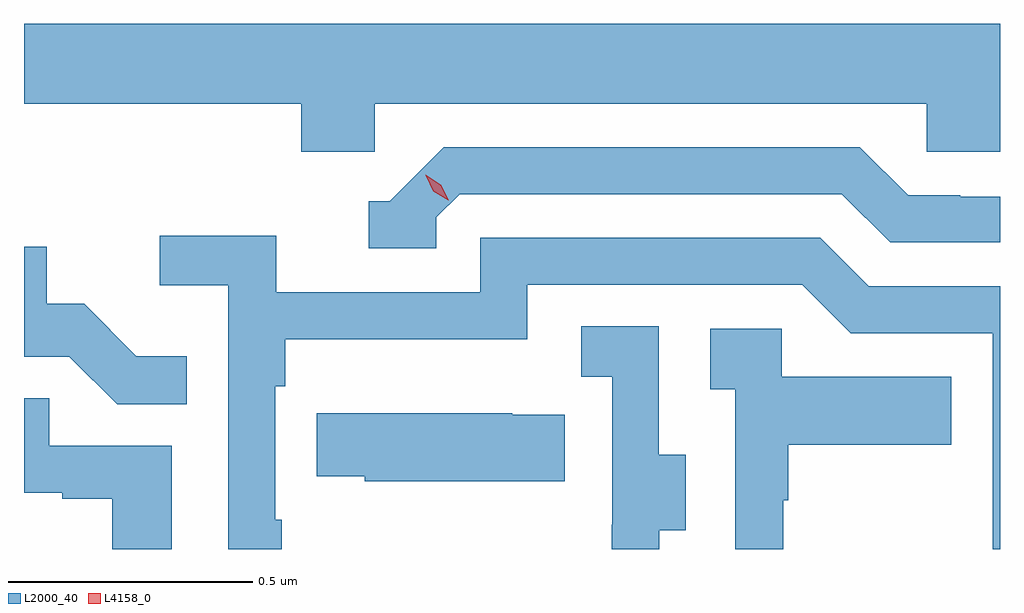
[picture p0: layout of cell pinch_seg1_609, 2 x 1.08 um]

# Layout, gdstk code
import gdstk
lib = gdstk.Library(unit=1e-6, precision=1e-09)
def P(c, l, *ps):  # polygons
    for p in ps: c.add(gdstk.Polygon(p, *l))
L2000_40 = (2000, 40)
L4158_0 = (4158, 0)

pinch_seg1_609 = lib.new_cell('pinch_seg1_609')
P(pinch_seg1_609, L2000_40, [(1041.69,506.444),(1042.821,506.444),(1042.821,506.346),(1042.971,506.346),(1042.971,506.608),(1040.971,506.608),(1040.971,506.444),(1041.539,506.444),(1041.539,506.346),(1041.69,506.346)],
  [(1041.816,506.211),(1041.864,506.259),(1042.647,506.259),(1042.746,506.16),(1042.971,506.16),(1042.971,506.253),(1042.89,506.253),(1042.89,506.256),(1042.783,506.256),(1042.684,506.355),(1041.831,506.355),(1041.72,506.244),(1041.677,506.244),(1041.677,506.148),(1041.816,506.148)],
  [(1041.499,505.592),(1041.486,505.592),(1041.486,505.865),(1041.506,505.865),(1041.506,505.961),(1042.002,505.961),(1042.002,506.073),(1042.566,506.073),(1042.665,505.974),(1042.956,505.974),(1042.956,505.531),(1042.971,505.531),(1042.971,506.07),(1042.702,506.07),(1042.603,506.169),(1041.906,506.169),(1041.906,506.058),(1041.488,506.058),(1041.488,506.174),(1041.249,506.174),(1041.249,506.072),(1041.39,506.072),(1041.39,505.531),(1041.499,505.531)],
  [(1041.305,505.927),(1041.201,505.927),(1041.094,506.034),(1041.018,506.034),(1041.018,506.151),(1040.971,506.151),(1040.971,505.926),(1041.064,505.926),(1041.162,505.828),(1041.305,505.828)],
  [(1042.273,505.57),(1042.327,505.57),(1042.327,505.725),(1042.272,505.725),(1042.272,505.988),(1042.113,505.988),(1042.113,505.885),(1042.176,505.885),(1042.176,505.581),(1042.175,505.581),(1042.175,505.531),(1042.273,505.531)],
  [(1042.527,505.631),(1042.537,505.631),(1042.537,505.745),(1042.871,505.745),(1042.871,505.885),(1042.524,505.885),(1042.524,505.983),(1042.377,505.983),(1042.377,505.859),(1042.428,505.859),(1042.428,505.531),(1042.527,505.531)],
  [(1041.274,505.743),(1041.023,505.743),(1041.023,505.841),(1040.971,505.841),(1040.971,505.647),(1041.049,505.647),(1041.049,505.635),(1041.152,505.635),(1041.152,505.531),(1041.274,505.531)],
  [(1042.079,505.807),(1041.971,505.807),(1041.971,505.81),(1041.571,505.81),(1041.571,505.681),(1041.669,505.681),(1041.669,505.67),(1042.079,505.67)])
P(pinch_seg1_609, L4158_0, [(1041.84,506.246),(1041.81,506.265),(1041.794,506.297),(1041.794,506.298),(1041.794,506.298),(1041.825,506.278),(1041.841,506.246),(1041.841,506.246)])

lib.write_gds('pinch_seg1_609.gds')
